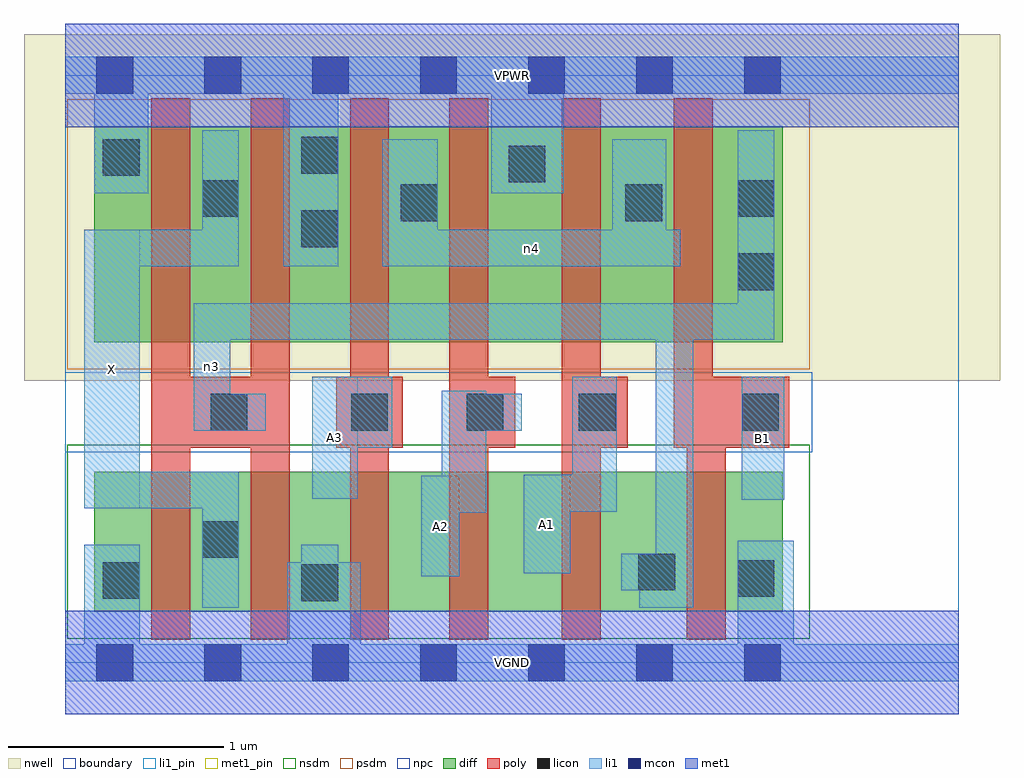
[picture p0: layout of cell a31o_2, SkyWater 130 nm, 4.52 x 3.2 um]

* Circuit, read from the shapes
.subckt a31o_2 A1 A2 A3 B1 VGND VPWR X n3 n4
XM1 X n3 VGND VSUBS sky130_fd_pr__nfet_01v8 w=0.65 l=0.18 m=2
XM2 n1 A3 VGND VSUBS sky130_fd_pr__nfet_01v8 w=0.65 l=0.18
XM3 n2 A2 n1 VSUBS sky130_fd_pr__nfet_01v8 w=0.65 l=0.18
XM4 n3 A1 n2 VSUBS sky130_fd_pr__nfet_01v8 w=0.65 l=0.18
XM5 VGND B1 n3 VSUBS sky130_fd_pr__nfet_01v8 w=0.65 l=0.18
XM6 X n3 VPWR n5 sky130_fd_pr__pfet_01v8 w=1 l=0.18 m=2
XM7 n4 A3 VPWR n5 sky130_fd_pr__pfet_01v8 w=1 l=0.18
XM8 VPWR A2 n4 n5 sky130_fd_pr__pfet_01v8 w=1 l=0.18
XM9 n4 A1 VPWR n5 sky130_fd_pr__pfet_01v8 w=1 l=0.18
XM10 n3 B1 n4 n5 sky130_fd_pr__pfet_01v8 w=1 l=0.18
.ends

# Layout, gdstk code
import gdstk
lib = gdstk.Library(unit=1e-6, precision=1e-09)
def R(c, l, rs):  # rectangles x0, y0, x1, y1
    for r in rs: c.add(gdstk.rectangle(r[:2], r[2:], *l))
def A(c, l, x, y, w, h, nx, ny, dx, dy):  # array of equal rectangles
    R(c, l, [(x+i*dx, y+j*dy, x+i*dx+w, y+j*dy+h) for i in range(nx) for j in range(ny)])
nwell = (64, 20)
diff = (65, 20)
poly = (66, 20)
licon = (66, 44)
li1_pin = (67, 16)
li1 = (67, 20)
mcon = (67, 44)
met1_pin = (68, 16)
met1 = (68, 20)
nsdm = (93, 44)
psdm = (94, 20)
npc = (95, 20)
boundary = (235, 4)

a31o_2 = lib.new_cell('a31o_2')
R(a31o_2, nwell, [(-0.19,1.305,4.33,2.91), (0,1.305,4.14,2.91)])
R(a31o_2, diff, [(0.135,0.235,3.325,0.885), (0.135,1.485,3.325,2.485)])
A(a31o_2, poly, 0.4, 0.105, 0.18, 2.51, 4, 1, 0.46, 0)
R(a31o_2, poly, [(2.3,0.105,2.48,2.615), (2.88,0.105,3.06,1.325), (0.4,0.995,1.04,1.325), (1.255,0.995,1.565,1.325), (1.78,0.995,2.085,1.325), (2.3,0.995,2.605,1.325), (2.82,0.995,3,2.615), (2.82,0.995,3.355,1.325)])
R(a31o_2, licon, [(1.095,0.285,1.265,0.455), (0.175,0.295,0.345,0.465), (3.115,0.305,3.285,0.475), (2.655,0.335,2.825,0.505), (0.635,0.485,0.805,0.655), (0.675,1.075,0.845,1.245), (1.325,1.075,1.495,1.245), (1.86,1.075,2.03,1.245), (2.38,1.075,2.55,1.245), (3.135,1.075,3.305,1.245), (3.115,1.725,3.285,1.895), (1.095,1.925,1.265,2.095), (1.555,2.045,1.725,2.215), (2.595,2.045,2.765,2.215), (0.635,2.065,0.805,2.235), (3.115,2.065,3.285,2.235), (2.055,2.225,2.225,2.395), (0.175,2.255,0.345,2.425), (1.095,2.265,1.265,2.435)])
R(a31o_2, li1_pin, [(1.65,0.4,1.825,0.865), (2.125,0.415,2.34,0.87), (0.09,0.715,0.345,2.005), (3.135,0.755,3.33,1.325), (1.145,0.76,1.355,1.325)])
R(a31o_2, li1, [(0,-0.085,4.14,0.085), (0.09,-0.085,0.345,0.545), (1.03,-0.085,1.37,0.465), (1.095,-0.085,1.265,0.545), (3.115,-0.085,3.375,0.565), (0.635,0.255,0.805,0.885), (2.66,0.255,2.91,0.505), (2.735,0.255,2.91,1.665), (2.575,0.335,2.91,0.505), (1.65,0.4,1.825,0.865), (2.125,0.415,2.34,0.87), (1.745,0.695,1.95,1.26), (2.125,0.7,2.555,0.87), (2.35,0.7,2.555,1.325), (0.09,0.715,0.345,2.005), (0.09,0.715,0.805,0.885), (3.135,0.755,3.33,1.325), (1.145,0.76,1.355,1.325), (1.145,0.995,1.515,1.325), (0.595,1.075,0.765,1.665), (0.595,1.075,0.93,1.245), (1.745,1.075,2.115,1.245), (0.595,1.495,3.285,1.665), (3.115,1.495,3.285,2.465), (0.09,1.835,0.805,2.005), (0.635,1.835,0.805,2.465), (1.01,1.835,1.265,2.805), (1.47,1.835,2.85,2.005), (1.47,1.835,1.725,2.425), (2.535,1.835,2.785,2.425), (0.135,2.175,0.385,2.805), (1.975,2.175,2.31,2.805), (0,2.635,4.14,2.805)])
A(a31o_2, mcon, 0.145, -0.085, 0.17, 0.17, 7, 2, 0.5, 2.72)
R(a31o_2, met1_pin, [(0,-0.24,4.14,0.24), (0,2.48,4.14,2.96)])
R(a31o_2, met1, [(0,-0.24,4.14,0.24), (0,2.48,4.14,2.96)])
R(a31o_2, nsdm, [(0.01,0.11,3.45,1.01)])
R(a31o_2, psdm, [(0.01,1.36,3.45,2.61)])
R(a31o_2, npc, [(0,0.975,3.46,1.345)])
R(a31o_2, boundary, [(0,0,4.14,2.72)])
a31o_2.add(gdstk.Label('A1', (2.232,0.642), layer=67, texttype=5))
a31o_2.add(gdstk.Label('A2', (1.737,0.632), layer=67, texttype=5))
a31o_2.add(gdstk.Label('A3', (1.25,1.042), layer=67, texttype=5))
a31o_2.add(gdstk.Label('B1', (3.232,1.04), layer=67, texttype=5))
a31o_2.add(gdstk.Label('X', (0.217,1.36), layer=67, texttype=5))
a31o_2.add(gdstk.Label('n4', (2.16,1.92), layer=67, texttype=5))
a31o_2.add(gdstk.Label('n3', (0.68,1.37), layer=67, texttype=5))
a31o_2.add(gdstk.Label('VPWR', (2.07,2.72), layer=68, texttype=5))
a31o_2.add(gdstk.Label('VGND', (2.07,0), layer=68, texttype=5))
a31o_2.add(gdstk.Label('A1', (2.232,0.642), layer=67, texttype=16))
a31o_2.add(gdstk.Label('A2', (1.737,0.632), layer=67, texttype=16))
a31o_2.add(gdstk.Label('A3', (1.25,1.042), layer=67, texttype=16))
a31o_2.add(gdstk.Label('B1', (3.232,1.04), layer=67, texttype=16))
a31o_2.add(gdstk.Label('X', (0.217,1.36), layer=67, texttype=16))
a31o_2.add(gdstk.Label('VPWR', (2.07,2.72), layer=68, texttype=16))
a31o_2.add(gdstk.Label('VGND', (2.07,0), layer=68, texttype=16))

lib.write_gds('a31o_2.gds')
